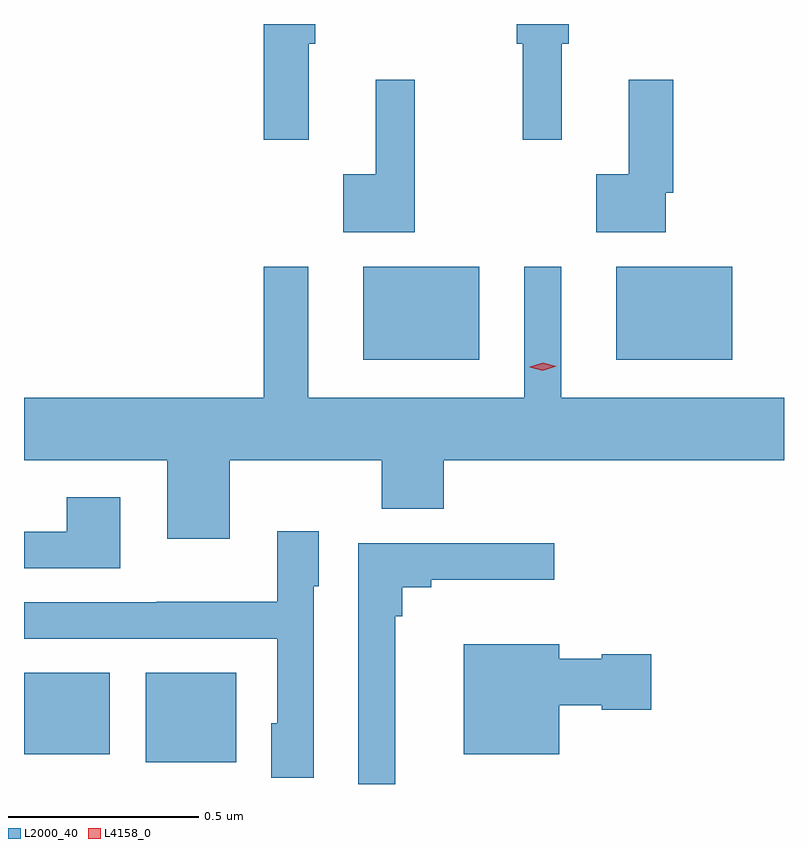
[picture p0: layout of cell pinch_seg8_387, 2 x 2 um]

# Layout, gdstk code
import gdstk
lib = gdstk.Library(unit=1e-6, precision=1e-09)
def R(c, l, rs):  # rectangles x0, y0, x1, y1
    for r in rs: c.add(gdstk.rectangle(r[:2], r[2:], *l))
def P(c, l, *ps):  # polygons
    for p in ps: c.add(gdstk.Polygon(p, *l))
L2000_40 = (2000, 40)
L4158_0 = (4158, 0)

pinch_seg8_387 = lib.new_cell('pinch_seg8_387')
R(pinch_seg8_387, L2000_40, [(450.116,1111.709,450.355,1111.945), (449.796,1111.73,450.022,1111.945), (450.689,1112.768,450.994,1113.013), (451.355,1112.768,451.66,1113.013)])
P(pinch_seg8_387, L2000_40, [(451.211,1113.6),(451.229,1113.6),(451.229,1113.652),(451.093,1113.652),(451.093,1113.6),(451.108,1113.6),(451.108,1113.348),(451.211,1113.348)],
  [(450.545,1113.6),(450.563,1113.6),(450.563,1113.652),(450.427,1113.652),(450.427,1113.348),(450.545,1113.348)],
  [(450.824,1113.505),(450.722,1113.505),(450.722,1113.257),(450.636,1113.257),(450.636,1113.104),(450.824,1113.104)],
  [(451.485,1113.208),(451.505,1113.208),(451.505,1113.505),(451.388,1113.505),(451.388,1113.257),(451.302,1113.257),(451.302,1113.104),(451.485,1113.104)],
  [(450.337,1112.504),(450.737,1112.504),(450.737,1112.376),(450.901,1112.376),(450.901,1112.504),(451.796,1112.504),(451.796,1112.668),(451.21,1112.668),(451.21,1113.013),(451.113,1113.013),(451.113,1112.668),(450.544,1112.668),(450.544,1113.013),(450.427,1113.013),(450.427,1112.668),(449.796,1112.668),(449.796,1112.504),(450.173,1112.504),(450.173,1112.298),(450.337,1112.298)],
  [(450.049,1112.407),(449.909,1112.407),(449.909,1112.316),(449.796,1112.316),(449.796,1112.22),(450.049,1112.22)],
  [(450.558,1112.172),(450.571,1112.172),(450.571,1112.317),(450.462,1112.317),(450.462,1112.131),(450.145,1112.131),(450.145,1112.13),(449.796,1112.13),(449.796,1112.034),(450.462,1112.034),(450.462,1111.812),(450.446,1111.812),(450.446,1111.669),(450.558,1111.669)],
  [(450.773,1112.093),(450.791,1112.093),(450.791,1112.17),(450.868,1112.17),(450.868,1112.189),(451.192,1112.189),(451.192,1112.286),(450.675,1112.286),(450.675,1111.652),(450.773,1111.652)],
  [(451.204,1111.859),(451.317,1111.859),(451.317,1111.847),(451.447,1111.847),(451.447,1111.994),(451.317,1111.994),(451.317,1111.981),(451.204,1111.981),(451.204,1112.02),(450.953,1112.02),(450.953,1111.73),(451.204,1111.73)])
P(pinch_seg8_387, L4158_0, [(451.161,1112.74),(451.127,1112.749),(451.127,1112.75),(451.127,1112.75),(451.161,1112.76),(451.196,1112.751),(451.196,1112.751),(451.196,1112.751)])

lib.write_gds('pinch_seg8_387.gds')
